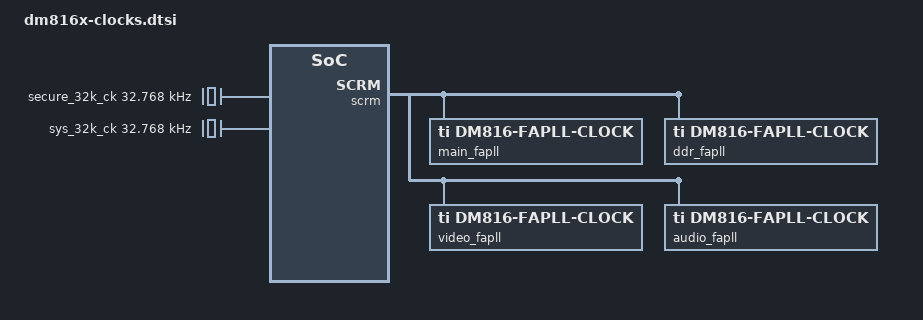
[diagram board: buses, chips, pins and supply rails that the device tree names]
// SPDX-License-Identifier: GPL-2.0-only

&scrm {
	main_fapll: main_fapll {
		#clock-cells = <1>;
		compatible = "ti,dm816-fapll-clock";
		reg = <0x400 0x40>;
		clocks = <&sys_clkin_ck &sys_clkin_ck>;
		clock-indices = <1>, <2>, <3>, <4>, <5>,
				<6>, <7>;
		clock-output-names = "main_pll_clk1",
				     "main_pll_clk2",
				     "main_pll_clk3",
				     "main_pll_clk4",
				     "main_pll_clk5",
				     "main_pll_clk6",
				     "main_pll_clk7";
	};

	ddr_fapll: ddr_fapll {
		#clock-cells = <1>;
		compatible = "ti,dm816-fapll-clock";
		reg = <0x440 0x30>;
		clocks = <&sys_clkin_ck &sys_clkin_ck>;
		clock-indices = <1>, <2>, <3>, <4>;
		clock-output-names = "ddr_pll_clk1",
				     "ddr_pll_clk2",
				     "ddr_pll_clk3",
				     "ddr_pll_clk4";
	};

	video_fapll: video_fapll {
		#clock-cells = <1>;
		compatible = "ti,dm816-fapll-clock";
		reg = <0x470 0x30>;
		clocks = <&sys_clkin_ck &sys_clkin_ck>;
		clock-indices = <1>, <2>, <3>;
		clock-output-names = "video_pll_clk1",
				     "video_pll_clk2",
				     "video_pll_clk3";
	};

	audio_fapll: audio_fapll {
		#clock-cells = <1>;
		compatible = "ti,dm816-fapll-clock";
		reg = <0x4a0 0x30>;
		clocks = <&main_fapll 7>, < &sys_clkin_ck>;
		clock-indices = <1>, <2>, <3>, <4>, <5>;
		clock-output-names = "audio_pll_clk1",
				     "audio_pll_clk2",
				     "audio_pll_clk3",
				     "audio_pll_clk4",
				     "audio_pll_clk5";
	};
};

&scrm_clocks {
	secure_32k_ck: secure_32k_ck {
		#clock-cells = <0>;
		compatible = "fixed-clock";
		clock-frequency = <32768>;
	};

	sys_32k_ck: sys_32k_ck {
		#clock-cells = <0>;
		compatible = "fixed-clock";
		clock-frequency = <32768>;
	};

	tclkin_ck: tclkin_ck {
		#clock-cells = <0>;
		compatible = "fixed-clock";
		clock-frequency = <32768>;
	};

	sys_clkin_ck: sys_clkin_ck {
		#clock-cells = <0>;
		compatible = "fixed-clock";
		clock-frequency = <27000000>;
	};
};

/* 0x48180000 */
&prcm_clocks {
	clkout_pre_ck: clkout_pre_ck@100 {
		#clock-cells = <0>;
		compatible = "ti,mux-clock";
		clocks = <&main_fapll 5 &ddr_fapll 1 &video_fapll 1
			  &audio_fapll 1>;
		reg = <0x100>;
	};

	clkout_div_ck: clkout_div_ck@100 {
		#clock-cells = <0>;
		compatible = "ti,divider-clock";
		clocks = <&clkout_pre_ck>;
		ti,bit-shift = <3>;
		ti,max-div = <8>;
		reg = <0x100>;
	};

	clkout_ck: clkout_ck@100 {
		#clock-cells = <0>;
		compatible = "ti,gate-clock";
		clocks = <&clkout_div_ck>;
		ti,bit-shift = <7>;
		reg = <0x100>;
	};

	/* CM_DPLL clocks p1795 */
	sysclk1_ck: sysclk1_ck@300 {
		#clock-cells = <0>;
		compatible = "ti,divider-clock";
		clocks = <&main_fapll 1>;
		ti,max-div = <7>;
		reg = <0x0300>;
	};

	sysclk2_ck: sysclk2_ck@304 {
		#clock-cells = <0>;
		compatible = "ti,divider-clock";
		clocks = <&main_fapll 2>;
		ti,max-div = <7>;
		reg = <0x0304>;
	};

	sysclk3_ck: sysclk3_ck@308 {
		#clock-cells = <0>;
		compatible = "ti,divider-clock";
		clocks = <&main_fapll 3>;
		ti,max-div = <7>;
		reg = <0x0308>;
	};

	sysclk4_ck: sysclk4_ck@30c {
		#clock-cells = <0>;
		compatible = "ti,divider-clock";
		clocks = <&main_fapll 4>;
		ti,max-div = <1>;
		reg = <0x030c>;
	};

	sysclk5_ck: sysclk5_ck@310 {
		#clock-cells = <0>;
		compatible = "ti,divider-clock";
		clocks = <&sysclk4_ck>;
		ti,max-div = <1>;
		reg = <0x0310>;
	};

	sysclk6_ck: sysclk6_ck@314 {
		#clock-cells = <0>;
		compatible = "ti,divider-clock";
		clocks = <&main_fapll 4>;
		ti,dividers = <2>, <4>;
		reg = <0x0314>;
	};

	sysclk10_ck: sysclk10_ck@324 {
		#clock-cells = <0>;
		compatible = "ti,divider-clock";
		clocks = <&ddr_fapll 2>;
		ti,max-div = <7>;
		reg = <0x0324>;
	};

	sysclk24_ck: sysclk24_ck@3b4 {
		#clock-cells = <0>;
		compatible = "ti,divider-clock";
		clocks = <&main_fapll 5>;
		ti,max-div = <7>;
		reg = <0x03b4>;
	};

	mpu_ck: mpu_ck@15dc {
		#clock-cells = <0>;
		compatible = "ti,gate-clock";
		clocks = <&sysclk2_ck>;
		ti,bit-shift = <1>;
                reg = <0x15dc>;
	};

	audio_pll_a_ck: audio_pll_a_ck@35c {
		#clock-cells = <0>;
		compatible = "ti,divider-clock";
		clocks = <&audio_fapll 1>;
		ti,max-div = <7>;
		reg = <0x035c>;
	};

	sysclk18_ck: sysclk18_ck@378 {
		#clock-cells = <0>;
		compatible = "ti,mux-clock";
		clocks = <&sys_32k_ck>, <&audio_pll_a_ck>;
		reg = <0x0378>;
	};

	timer1_fck: timer1_fck@390 {
		#clock-cells = <0>;
		compatible = "ti,mux-clock";
		clocks = <&tclkin_ck>, <&sysclk18_ck>, <&sys_clkin_ck>;
		reg = <0x0390>;
	};

	timer2_fck: timer2_fck@394 {
		#clock-cells = <0>;
		compatible = "ti,mux-clock";
		clocks = <&tclkin_ck>, <&sysclk18_ck>, <&sys_clkin_ck>;
		reg = <0x0394>;
	};

	timer3_fck: timer3_fck@398 {
		#clock-cells = <0>;
		compatible = "ti,mux-clock";
		clocks = <&tclkin_ck>, <&sysclk18_ck>, <&sys_clkin_ck>;
		reg = <0x0398>;
	};

	timer4_fck: timer4_fck@39c {
		#clock-cells = <0>;
		compatible = "ti,mux-clock";
		clocks = <&tclkin_ck>, <&sysclk18_ck>, <&sys_clkin_ck>;
		reg = <0x039c>;
	};

	timer5_fck: timer5_fck@3a0 {
		#clock-cells = <0>;
		compatible = "ti,mux-clock";
		clocks = <&tclkin_ck>, <&sysclk18_ck>, <&sys_clkin_ck>;
		reg = <0x03a0>;
	};

	timer6_fck: timer6_fck@3a4 {
		#clock-cells = <0>;
		compatible = "ti,mux-clock";
		clocks = <&tclkin_ck>, <&sysclk18_ck>, <&sys_clkin_ck>;
		reg = <0x03a4>;
	};

	timer7_fck: timer7_fck@3a8 {
		#clock-cells = <0>;
		compatible = "ti,mux-clock";
		clocks = <&tclkin_ck>, <&sysclk18_ck>, <&sys_clkin_ck>;
		reg = <0x03a8>;
	};
};

&prcm {
	default_cm: default_cm@500 {
		compatible = "ti,omap4-cm";
		reg = <0x500 0x100>;
		#address-cells = <1>;
		#size-cells = <1>;
		ranges = <0 0x500 0x100>;

		default_clkctrl: clk@0 {
			compatible = "ti,clkctrl";
			reg = <0x0 0x5c>;
			#clock-cells = <2>;
		};
	};

	alwon_cm: alwon_cm@1400 {
		compatible = "ti,omap4-cm";
		reg = <0x1400 0x300>;
		#address-cells = <1>;
		#size-cells = <1>;
		ranges = <0 0x1400 0x300>;

		alwon_clkctrl: clk@0 {
			compatible = "ti,clkctrl";
			reg = <0x0 0x208>;
			#clock-cells = <2>;
		};
	};
};
